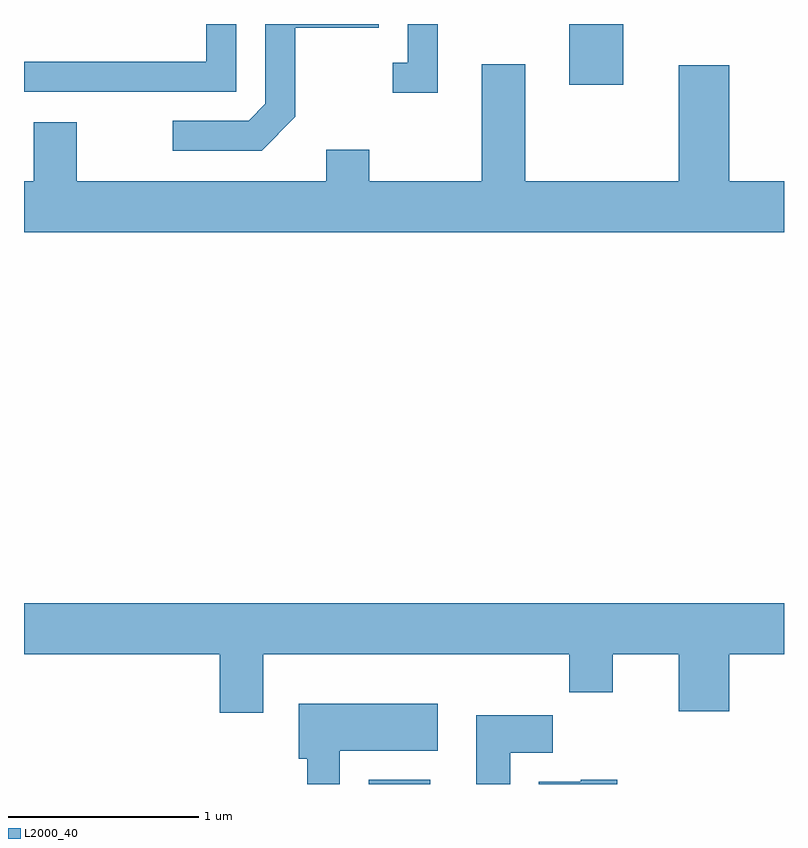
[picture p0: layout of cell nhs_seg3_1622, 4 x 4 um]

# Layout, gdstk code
import gdstk
lib = gdstk.Library(unit=1e-6, precision=1e-09)
def R(c, l, rs):  # rectangles x0, y0, x1, y1
    for r in rs: c.add(gdstk.rectangle(r[:2], r[2:], *l))
def P(c, l, *ps):  # polygons
    for p in ps: c.add(gdstk.Polygon(p, *l))
L2000_40 = (2000, 40)

nhs_seg3_1622 = lib.new_cell('nhs_seg3_1622')
R(nhs_seg3_1622, L2000_40, [(233.426,1231.892,233.749,1231.914), (234.481,1235.571,234.764,1235.892), (231.611,1235.891,232.389,1235.892)])
P(nhs_seg3_1622, L2000_40, [(232.729,1235.892),(232.571,1235.892),(232.571,1235.694),(231.611,1235.694),(231.611,1235.536),(232.729,1235.536)],
  [(233.039,1235.404),(233.039,1235.871),(233.479,1235.871),(233.479,1235.892),(232.881,1235.892),(232.881,1235.472),(232.794,1235.384),(232.393,1235.384),(232.393,1235.226),(232.862,1235.226)],
  [(233.789,1235.892),(233.631,1235.892),(233.631,1235.689),(233.553,1235.689),(233.553,1235.531),(233.789,1235.531)],
  [(235.611,1235.064),(235.324,1235.064),(235.324,1235.674),(235.056,1235.674),(235.056,1235.064),(234.249,1235.064),(234.249,1235.679),(234.021,1235.679),(234.021,1235.064),(233.429,1235.064),(233.429,1235.229),(233.201,1235.229),(233.201,1235.064),(231.889,1235.064),(231.889,1235.374),(231.661,1235.374),(231.661,1235.064),(231.611,1235.064),(231.611,1234.796),(235.611,1234.796)],
  [(231.611,1232.576),(232.641,1232.576),(232.641,1232.266),(232.869,1232.266),(232.869,1232.576),(234.481,1232.576),(234.481,1232.376),(234.709,1232.376),(234.709,1232.576),(235.056,1232.576),(235.056,1232.276),(235.324,1232.276),(235.324,1232.576),(235.611,1232.576),(235.611,1232.844),(231.611,1232.844)],
  [(233.274,1232.066),(233.789,1232.066),(233.789,1232.314),(233.056,1232.314),(233.056,1232.026),(233.101,1232.026),(233.101,1231.892),(233.274,1231.892)],
  [(234.169,1232.056),(234.394,1232.056),(234.394,1232.254),(233.991,1232.254),(233.991,1231.892),(234.169,1231.892)],
  [(234.734,1231.914),(234.54,1231.914),(234.54,1231.904),(234.321,1231.904),(234.321,1231.892),(234.734,1231.892)])

lib.write_gds('nhs_seg3_1622.gds')
